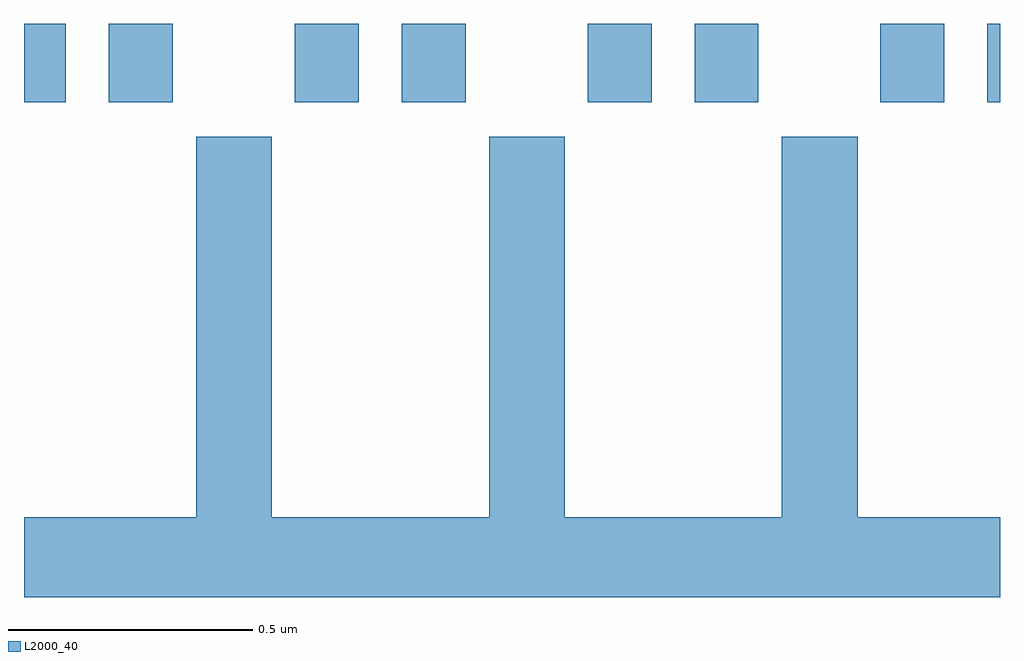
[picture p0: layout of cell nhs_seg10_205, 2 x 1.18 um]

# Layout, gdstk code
import gdstk
lib = gdstk.Library(unit=1e-6, precision=1e-09)
def R(c, l, rs):  # rectangles x0, y0, x1, y1
    for r in rs: c.add(gdstk.rectangle(r[:2], r[2:], *l))
def P(c, l, *ps):  # polygons
    for p in ps: c.add(gdstk.Polygon(p, *l))
L2000_40 = (2000, 40)

nhs_seg10_205 = lib.new_cell('nhs_seg10_205')
R(nhs_seg10_205, L2000_40, [(113,1293.339,113.086,1293.5), (113.174,1293.339,113.305,1293.5), (113.555,1293.339,113.686,1293.5), (113.774,1293.339,113.905,1293.5), (114.155,1293.339,114.286,1293.5), (114.374,1293.339,114.505,1293.5), (114.755,1293.339,114.886,1293.5), (114.974,1293.339,115,1293.5)])
P(nhs_seg10_205, L2000_40, [(115,1292.488),(114.708,1292.488),(114.708,1293.268),(114.553,1293.268),(114.553,1292.488),(114.108,1292.488),(114.108,1293.268),(113.953,1293.268),(113.953,1292.488),(113.508,1292.488),(113.508,1293.268),(113.353,1293.268),(113.353,1292.488),(113,1292.488),(113,1292.324),(115,1292.324)])

lib.write_gds('nhs_seg10_205.gds')
